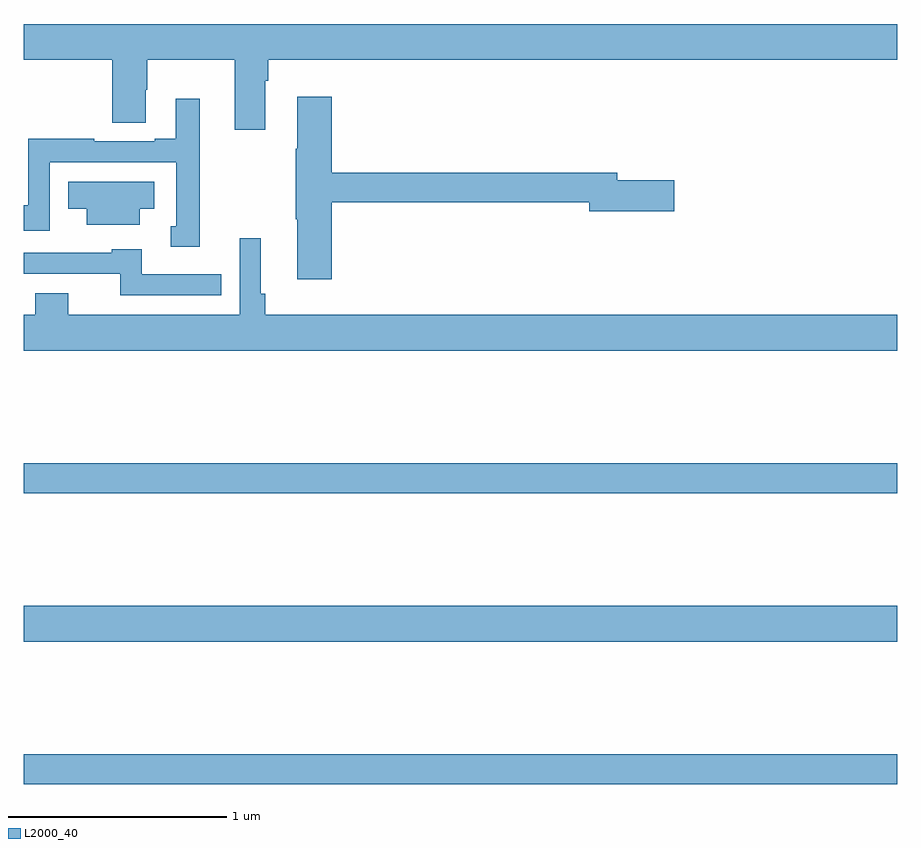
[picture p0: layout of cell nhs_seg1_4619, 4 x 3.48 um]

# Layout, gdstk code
import gdstk
lib = gdstk.Library(unit=1e-6, precision=1e-09)
def R(c, l, rs):  # rectangles x0, y0, x1, y1
    for r in rs: c.add(gdstk.rectangle(r[:2], r[2:], *l))
def P(c, l, *ps):  # polygons
    for p in ps: c.add(gdstk.Polygon(p, *l))
L2000_40 = (2000, 40)

nhs_seg1_4619 = lib.new_cell('nhs_seg1_4619')
R(nhs_seg1_4619, L2000_40, [(361,568.396,365,568.532), (361,569.048,365,569.212), (361,569.728,365,569.864)])
P(nhs_seg1_4619, L2000_40, [(362.107,571.616),(362.12,571.616),(362.12,571.712),(365,571.712),(365,571.876),(361,571.876),(361,571.712),(361.406,571.712),(361.406,571.423),(361.558,571.423),(361.558,571.574),(361.566,571.574),(361.566,571.712),(361.967,571.712),(361.967,571.392),(362.107,571.392)],
  [(362.411,571.06),(363.59,571.06),(363.59,571.018),(363.979,571.018),(363.979,571.16),(363.718,571.16),(363.718,571.196),(362.411,571.196),(362.411,571.543),(362.252,571.543),(362.252,571.304),(362.245,571.304),(362.245,570.983),(362.252,570.983),(362.252,570.708),(362.411,570.708)],
  [(361.807,571.534),(361.697,571.534),(361.697,571.351),(361.601,571.351),(361.601,571.338),(361.322,571.338),(361.322,571.351),(361.021,571.351),(361.021,571.046),(361,571.046),(361,570.93),(361.119,570.93),(361.119,571.242),(361.698,571.242),(361.698,570.951),(361.673,570.951),(361.673,570.857),(361.807,570.857)],
  [(361.531,571.031),(361.597,571.031),(361.597,571.153),(361.204,571.153),(361.204,571.031),(361.289,571.031),(361.289,570.956),(361.531,570.956)],
  [(365,570.544),(362.105,570.544),(362.105,570.64),(362.086,570.64),(362.086,570.895),(361.989,570.895),(361.989,570.544),(361.204,570.544),(361.204,570.643),(361.052,570.643),(361.052,570.544),(361,570.544),(361,570.38),(365,570.38)],
  [(361.904,570.729),(361.54,570.729),(361.54,570.844),(361.404,570.844),(361.404,570.828),(361,570.828),(361,570.732),(361.441,570.732),(361.441,570.633),(361.904,570.633)])

lib.write_gds('nhs_seg1_4619.gds')
